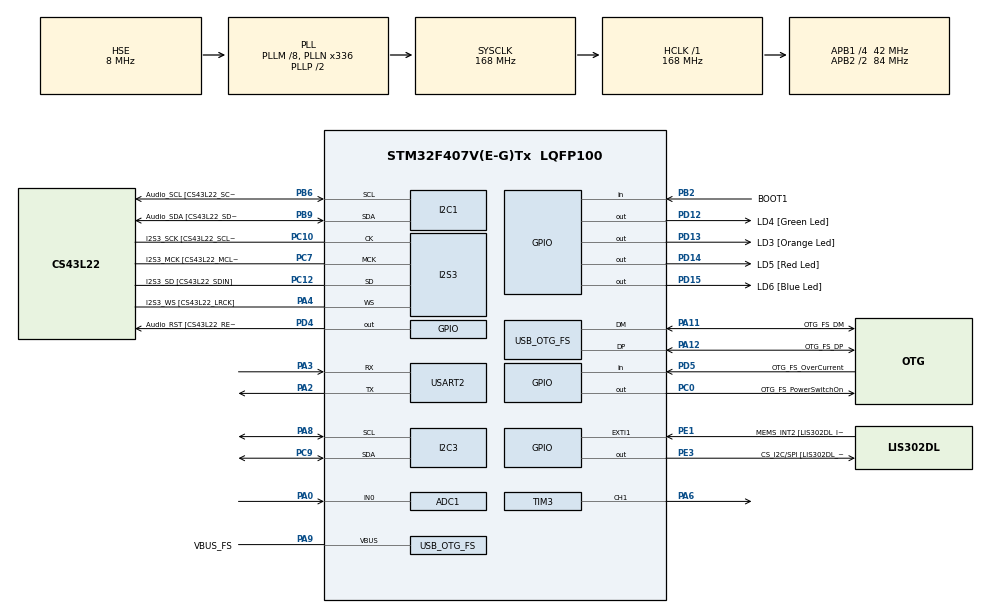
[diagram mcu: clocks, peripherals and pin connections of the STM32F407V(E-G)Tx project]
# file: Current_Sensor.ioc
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ADC1.Channel-1\#ChannelRegularConversion=ADC_CHANNEL_0
ADC1.NbrOfConversion=1
ADC1.NbrOfConversionFlag=1
ADC1.Rank-1\#ChannelRegularConversion=1
ADC1.Resolution=ADC_RESOLUTION_12B
ADC1.SamplingTime-1\#ChannelRegularConversion=ADC_SAMPLETIME_3CYCLES
ADC1.master=1
I2S3.AudioFreq-Half_Duplex_Master=I2S_AUDIOFREQ_96K
I2S3.ErrorAudioFreq=-2.34 %
I2S3.ErrorAudioFreq-Half_Duplex_Master=0.8 %
I2S3.FullDuplexMode=I2S_FULLDUPLEXMODE_DISABLE
I2S3.Instance=SPI$Index
I2S3.RealAudioFreq=93.75 KHz
I2S3.RealAudioFreq-Half_Duplex_Master=96.774 KHz
I2S3.VirtualMode=I2S_MODE_MASTER
Mcu.Family=STM32F4
Mcu.Name=STM32F407V(E-G)Tx
Mcu.Package=LQFP100
NVIC.OTG_FS_IRQn=true\:0\:0\:false\:false\:true\:true\:true\:true
NVIC.PriorityGroup=NVIC_PRIORITYGROUP_0
PA0-WKUP.Signal=ADCx_IN0
PA10.GPIO_Label=OTG_FS_ID
PA10.GPIO_Mode=GPIO_MODE_AF_PP
PA10.GPIO_PuPd=GPIO_NOPULL
PA10.GPIO_Speed=GPIO_SPEED_FREQ_LOW
PA10.Signal=USB_OTG_FS_ID
PA11.GPIO_Label=OTG_FS_DM
PA11.GPIO_Mode=GPIO_MODE_AF_PP
PA11.GPIO_PuPd=GPIO_NOPULL
PA11.GPIO_Speed=GPIO_SPEED_FREQ_LOW
PA11.Mode=Host_Only
PA11.Signal=USB_OTG_FS_DM
PA12.GPIO_Label=OTG_FS_DP
PA12.GPIO_Mode=GPIO_MODE_AF_PP
PA12.GPIO_PuPd=GPIO_NOPULL
PA12.GPIO_Speed=GPIO_SPEED_FREQ_LOW
PA12.Mode=Host_Only
PA12.Signal=USB_OTG_FS_DP
PA13.GPIO_Label=SWDIO
PA13.Mode=Serial_Wire
PA13.Signal=SYS_JTMS-SWDIO
PA14.GPIO_Label=SWCLK
PA14.Mode=Serial_Wire
PA14.Signal=SYS_JTCK-SWCLK
PA2.Mode=Asynchronous
PA2.Signal=USART2_TX
PA3.Mode=Asynchronous
PA3.Signal=USART2_RX
PA4.GPIO_Label=I2S3_WS [CS43L22_LRCK]
PA4.GPIO_Mode=GPIO_MODE_AF_PP
PA4.GPIO_PuPd=GPIO_NOPULL
PA4.GPIO_Speed=GPIO_SPEED_FREQ_LOW
PA4.Mode=Half_Duplex_Master
PA4.Signal=I2S3_WS
PA5.GPIO_Label=SPI1_SCK [LIS302DL_SCL/SPC]
PA5.GPIO_Mode=GPIO_MODE_AF_PP
PA5.GPIO_PuPd=GPIO_NOPULL
PA5.GPIO_Speed=GPIO_SPEED_FREQ_LOW
PA5.Signal=SPI1_SCK
PA6.Signal=S_TIM3_CH1
PA7.GPIO_Label=SPI1_MOSI [LIS302DL_SDA/SDI/SDO]
PA7.GPIO_Mode=GPIO_MODE_AF_PP
PA7.GPIO_PuPd=GPIO_NOPULL
PA7.GPIO_Speed=GPIO_SPEED_FREQ_LOW
PA7.Signal=SPI1_MOSI
PA8.Mode=I2C
PA8.Signal=I2C3_SCL
PA9.GPIO_Label=VBUS_FS
PA9.GPIO_Mode=GPIO_MODE_INPUT
PA9.GPIO_PuPd=GPIO_NOPULL
PA9.Mode=Activate_VBUS
PA9.Signal=USB_OTG_FS_VBUS
PB10.GPIO_Label=CLK_IN [MP45DT02_CLK]
PB10.GPIO_Mode=GPIO_MODE_AF_PP
PB10.GPIO_PuPd=GPIO_NOPULL
PB10.GPIO_Speed=GPIO_SPEED_FREQ_LOW
PB10.Signal=I2S2_CK
PB2.GPIO_Label=BOOT1
PB2.GPIO_Mode=GPIO_MODE_INPUT
PB2.GPIO_PuPd=GPIO_NOPULL
PB2.Signal=GPIO_Input
PB3.GPIO_Label=SWO
PB3.Signal=SYS_JTDO-SWO
PB6.GPIO_Label=Audio_SCL [CS43L22_SCL]
PB6.GPIO_Mode=GPIO_MODE_AF_OD
PB6.GPIO_Pu=GPIO_PULLUP
PB6.GPIO_PuPd=GPIO_NOPULL
PB6.GPIO_Speed=GPIO_SPEED_FREQ_LOW
PB6.Mode=I2C
PB6.Signal=I2C1_SCL
PB9.GPIO_Label=Audio_SDA [CS43L22_SDA]
PB9.GPIO_Mode=GPIO_MODE_AF_OD
PB9.GPIO_Pu=GPIO_PULLUP
PB9.GPIO_PuPd=GPIO_NOPULL
PB9.GPIO_Speed=GPIO_SPEED_FREQ_LOW
PB9.Mode=I2C
PB9.Signal=I2C1_SDA
PC0.GPIO_Label=OTG_FS_PowerSwitchOn
PC0.GPIO_PuPd=GPIO_NOPULL
PC0.GPIO_Speed=GPIO_SPEED_FREQ_LOW
PC0.PinState=GPIO_PIN_SET
PC0.Signal=GPIO_Output
PC10.GPIO_Label=I2S3_SCK [CS43L22_SCLK]
PC10.GPIO_Mode=GPIO_MODE_AF_PP
PC10.GPIO_PuPd=GPIO_NOPULL
PC10.GPIO_Speed=GPIO_SPEED_FREQ_LOW
PC10.Mode=Half_Duplex_Master
PC10.Signal=I2S3_CK
PC12.GPIO_Label=I2S3_SD [CS43L22_SDIN]
PC12.GPIO_Mode=GPIO_MODE_AF_PP
PC12.GPIO_PuPd=GPIO_NOPULL
PC12.GPIO_Speed=GPIO_SPEED_FREQ_LOW
PC12.Mode=Half_Duplex_Master
PC12.Signal=I2S3_SD
PC14-OSC32_IN.GPIO_Label=PC14-OSC32_IN
PC14-OSC32_IN.Mode=LSE-External-Oscillator
PC14-OSC32_IN.Signal=RCC_OSC32_IN
PC15-OSC32_OUT.GPIO_Label=PC15-OSC32_OUT
PC15-OSC32_OUT.Mode=LSE-External-Oscillator
PC15-OSC32_OUT.Signal=RCC_OSC32_OUT
PC3.GPIO_Label=PDM_OUT [MP45DT02_DOUT]
PC3.GPIO_Mode=GPIO_MODE_AF_PP
PC3.GPIO_PuPd=GPIO_NOPULL
PC3.GPIO_Speed=GPIO_SPEED_FREQ_LOW
PC3.Signal=I2S2_SD
PC7.GPIO_Label=I2S3_MCK [CS43L22_MCLK]
PC7.GPIO_Mode=GPIO_MODE_AF_PP
PC7.GPIO_PuPd=GPIO_NOPULL
PC7.GPIO_Speed=GPIO_SPEED_FREQ_LOW
PC7.Mode=Master_Clock_Activated
PC7.Signal=I2S3_MCK
PC9.Mode=I2C
PC9.Signal=I2C3_SDA
PD12.GPIO_Label=LD4 [Green Led]
PD12.GPIO_PuPd=GPIO_NOPULL
PD12.GPIO_Speed=GPIO_SPEED_FREQ_LOW
PD12.Signal=GPIO_Output
PD13.GPIO_Label=LD3 [Orange Led]
PD13.GPIO_PuPd=GPIO_NOPULL
PD13.GPIO_Speed=GPIO_SPEED_FREQ_LOW
PD13.Signal=GPIO_Output
PD14.GPIO_Label=LD5 [Red Led]
PD14.GPIO_PuPd=GPIO_NOPULL
PD14.GPIO_Speed=GPIO_SPEED_FREQ_LOW
PD14.Signal=GPIO_Output
PD15.GPIO_Label=LD6 [Blue Led]
PD15.GPIO_PuPd=GPIO_NOPULL
PD15.GPIO_Speed=GPIO_SPEED_FREQ_LOW
PD15.Signal=GPIO_Output
PD4.GPIO_Label=Audio_RST [CS43L22_RESET]
PD4.GPIO_PuPd=GPIO_NOPULL
PD4.GPIO_Speed=GPIO_SPEED_FREQ_LOW
PD4.Signal=GPIO_Output
PD5.GPIO_Label=OTG_FS_OverCurrent
PD5.GPIO_Mode=GPIO_MODE_INPUT
PD5.GPIO_PuPd=GPIO_NOPULL
PD5.Signal=GPIO_Input
PE1.GPIO_Label=MEMS_INT2 [LIS302DL_INT2]
PE1.GPIO_ModeDefaultEXTI=GPIO_MODE_EVT_RISING
PE1.GPIO_PuPd=GPIO_NOPULL
PE1.Signal=GPXTI1
PE3.GPIO_Label=CS_I2C/SPI [LIS302DL_CS_I2C/SPI]
PE3.GPIO_PuPd=GPIO_NOPULL
PE3.GPIO_Speed=GPIO_SPEED_FREQ_LOW
PE3.Signal=GPIO_Output
PH0-OSC_IN.GPIO_Label=PH0-OSC_IN
PH0-OSC_IN.Mode=HSE-External-Oscillator
PH0-OSC_IN.Signal=RCC_OSC_IN
PH1-OSC_OUT.GPIO_Label=PH1-OSC_OUT
PH1-OSC_OUT.Mode=HSE-External-Oscillator
PH1-OSC_OUT.Signal=RCC_OSC_OUT
ProjectManager.HeapSize=0x200
ProjectManager.StackSize=0x400
ProjectManager.TargetToolchain=STM32CubeIDE
RCC.48MHZClocksFreq_Value=48000000
RCC.AHBFreq_Value=168000000
RCC.APB1CLKDivider=RCC_HCLK_DIV4
RCC.APB1Freq_Value=42000000
RCC.APB1TimFreq_Value=84000000
RCC.APB2CLKDivider=RCC_HCLK_DIV2
RCC.APB2Freq_Value=84000000
RCC.APB2TimFreq_Value=168000000
RCC.CortexFreq_Value=168000000
RCC.HCLKFreq_Value=168000000
RCC.HSE_VALUE=8000000
RCC.HSI_VALUE=16000000
RCC.PLLM=8
RCC.PLLN=336
RCC.PLLQ=7
RCC.SYSCLKFreq_VALUE=168000000
RCC.SYSCLKSource=RCC_SYSCLKSOURCE_PLLCLK
RCC.VCOOutputFreq_Value=336000000
SH.ADCx_IN0.0=ADC1_IN0,IN0
SH.S_TIM3_CH1.0=TIM3_CH1,PWM Generation1 CH1
TIM3.Channel-PWM\ Generation1\ CH1=TIM_CHANNEL_1
TIM3.Period=100
TIM3.Prescaler=83
USART2.VirtualMode=VM_ASYNC
USB_HOST.BSP.number=1
USB_HOST.USBH_HandleTypeDef-CDC_FS=hUsbHostFS
USB_HOST.VirtualModeFS=Cdc
USB_HOST0.BSP.STBoard=false
USB_HOST0.BSP.api=Unknown
USB_HOST0.BSP.instance=PC0
USB_HOST0.BSP.ip=GPIO
USB_HOST0.BSP.mode=Output
USB_HOST0.BSP.name=Drive_VBUS_FS
USB_HOST0.BSP.solution=PC0
USB_OTG_FS.VirtualMode=Host_Only
USB_OTG_FS.phy_itface=HCD_PHY_EMBEDDED
VP_TIM3_VS_ClockSourceINT.Mode=Internal
VP_USB_HOST_VS_USB_HOST_CDC_FS.Mode=CDC_FS
board=STM32F407G-DISC1

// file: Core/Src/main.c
/* USER CODE BEGIN Header */
/**
  ******************************************************************************
  * @file           : main.c
  * @brief          : Main program body for ACS758 Current Sensor
  ******************************************************************************
  */
/* USER CODE END Header */
#include "main.h"
#include "usb_host.h"

/* USER CODE BEGIN Includes */
#include <stdio.h>
#include "lcd_i2c.h"
#include "speed_control.h"

/* USER CODE END Includes */

ADC_HandleTypeDef hadc1;

I2C_HandleTypeDef hi2c1;
I2C_HandleTypeDef hi2c3;

I2S_HandleTypeDef hi2s3;

TIM_HandleTypeDef htim3;

UART_HandleTypeDef huart2;

void SystemClock_Config(void);
static void MX_GPIO_Init(void);
static void MX_I2C1_Init(void);
static void MX_I2S3_Init(void);
static void MX_ADC1_Init(void);
static void MX_USART2_UART_Init(void);
static void MX_I2C3_Init(void);
static void MX_TIM3_Init(void);
void MX_USB_HOST_Process(void);

/* USER CODE BEGIN PFP */
float read_current(void);
/* USER CODE END PFP */

/* USER CODE BEGIN 0 */

/* Redirect printf to SWO (ITM) - No extra hardware needed */
// Redirect printf to USART2 (ST-Link Virtual COM Port)
int _write(int file, char *ptr, int len)
{
    for (int i = 0; i < len; i++)
    {
        ITM_SendChar(*ptr++);
    }
    return len;
}

/* Read current from ACS758LCB-050B (powered at 3.3V) */
float read_current(void)
{
    uint32_t sum = 0;

    for(int i = 0; i < 10; i++)
    {
        HAL_ADC_Start(&hadc1);
        HAL_ADC_PollForConversion(&hadc1, 100);
        sum += HAL_ADC_GetValue(&hadc1);
        HAL_ADC_Stop(&hadc1);
    }

    float adc_value = sum / 10.0f;

    float vout = (adc_value * 3.3f) / 4095.0f;
    float zero_current = 1.65f;
    float sensitivity  = 0.0264f;

    float current_A = (vout - zero_current) / sensitivity;

    return current_A;
}

/* USER CODE END 0 */

int main(void)
{

  /* MCU Configuration--------------------------------------------------------*/

  /* Reset of all peripherals, Initializes the Flash interface and the Systick. */
  HAL_Init();

  /* Configure the system clock */
  SystemClock_Config();

  /* Initialize all configured peripherals */
  MX_GPIO_Init();
  MX_I2C1_Init();
  MX_I2S3_Init();
  MX_USB_HOST_Init();
  MX_ADC1_Init();
  MX_USART2_UART_Init();
  MX_I2C3_Init();
  MX_TIM3_Init();
  /* USER CODE BEGIN 2 */
  SpeedControl_Init();
  //PowerControl_Init();
  lcd_init();
  HAL_TIM_PWM_Start(&htim3, TIM_CHANNEL_1);

  // Enable ITM (required for SWV)
//  CoreDebug->DEMCR |= CoreDebug_DEMCR_TRCENA_Msk;
//  ITM->LAR = 0xC5ACCE55;
//  ITM->TCR = ITM_TCR_ITMENA_Msk;
//  ITM->TER = 1;

  printf("\r\n=== ACS758LCB-050B Current Sensor Test ===\r\n");
  printf("STM32F407VG Discovery Board\r\n");
  printf("Sensor powered at 3.3V | Sensitivity = 26.4 mV/A\r\n");
  printf("Reading every 500 ms...\r\n\r\n");
  /* USER CODE END 2 */

  /* Infinite loop */
  /* USER CODE BEGIN WHILE */
  while (1)
  {
      /* Handle buttons + update onboard LEDs (PD12-15) */
      SpeedControl_Process();

      /* ✅ Send actual speedLevel as PWM duty to PA6 (external peripheral) */
      __HAL_TIM_SET_COMPARE(&htim3, TIM_CHANNEL_1, (uint32_t)speedLevel);

      /* Read current */
      char buf[16];
      float current_A = read_current();

      printf("Current: %.2f A | Speed: %d%%\r\n", current_A, speedLevel);

      /* LCD Display */
      lcd_clear();

      lcd_set_cursor(0, 0);
      lcd_send_string("Cur:");
      lcd_set_cursor(0, 4);
      sprintf(buf, "%.2fA", current_A);
      lcd_send_string(buf);

      lcd_set_cursor(1, 0);
      lcd_send_string("Spd:");
      lcd_set_cursor(1, 4);
      sprintf(buf, "%d%%  ", speedLevel);
      lcd_send_string(buf);

      HAL_Delay(500);

      MX_USB_HOST_Process();
  }
  /* USER CODE END 3 */
}

void SystemClock_Config(void)
{
  RCC_OscInitTypeDef RCC_OscInitStruct = {0};
  RCC_ClkInitTypeDef RCC_ClkInitStruct = {0};

  /** Configure the main internal regulator output voltage
  */
  __HAL_RCC_PWR_CLK_ENABLE();
  __HAL_PWR_VOLTAGESCALING_CONFIG(PWR_REGULATOR_VOLTAGE_SCALE1);

  /** Initializes the RCC Oscillators according to the specified parameters
  * in the RCC_OscInitTypeDef structure.
  */
  RCC_OscInitStruct.OscillatorType = RCC_OSCILLATORTYPE_HSE;
  RCC_OscInitStruct.HSEState = RCC_HSE_ON;
  RCC_OscInitStruct.PLL.PLLState = RCC_PLL_ON;
  RCC_OscInitStruct.PLL.PLLSource = RCC_PLLSOURCE_HSE;
  RCC_OscInitStruct.PLL.PLLM = 8;
  RCC_OscInitStruct.PLL.PLLN = 336;
  RCC_OscInitStruct.PLL.PLLP = RCC_PLLP_DIV2;
  RCC_OscInitStruct.PLL.PLLQ = 7;
  if (HAL_RCC_OscConfig(&RCC_OscInitStruct) != HAL_OK)
  {
    Error_Handler();
  }

  /** Initializes the CPU, AHB and APB buses clocks
  */
  RCC_ClkInitStruct.ClockType = RCC_CLOCKTYPE_HCLK|RCC_CLOCKTYPE_SYSCLK
                              |RCC_CLOCKTYPE_PCLK1|RCC_CLOCKTYPE_PCLK2;
  RCC_ClkInitStruct.SYSCLKSource = RCC_SYSCLKSOURCE_PLLCLK;
  RCC_ClkInitStruct.AHBCLKDivider = RCC_SYSCLK_DIV1;
  RCC_ClkInitStruct.APB1CLKDivider = RCC_HCLK_DIV4;
  RCC_ClkInitStruct.APB2CLKDivider = RCC_HCLK_DIV2;

  if (HAL_RCC_ClockConfig(&RCC_ClkInitStruct, FLASH_LATENCY_5) != HAL_OK)
  {
    Error_Handler();
  }
}

static void MX_ADC1_Init(void)
{

  ADC_ChannelConfTypeDef sConfig = {0};

  /** Configure the global features of the ADC (Clock, Resolution, Data Alignment and number of conversion)
  */
  hadc1.Instance = ADC1;
  hadc1.Init.ClockPrescaler = ADC_CLOCK_SYNC_PCLK_DIV4;
  hadc1.Init.Resolution = ADC_RESOLUTION_12B;
  hadc1.Init.ScanConvMode = DISABLE;
  hadc1.Init.ContinuousConvMode = DISABLE;
  hadc1.Init.DiscontinuousConvMode = DISABLE;
  hadc1.Init.ExternalTrigConvEdge = ADC_EXTERNALTRIGCONVEDGE_NONE;
  hadc1.Init.ExternalTrigConv = ADC_SOFTWARE_START;
  hadc1.Init.DataAlign = ADC_DATAALIGN_RIGHT;
  hadc1.Init.NbrOfConversion = 1;
  hadc1.Init.DMAContinuousRequests = DISABLE;
  hadc1.Init.EOCSelection = ADC_EOC_SINGLE_CONV;
  if (HAL_ADC_Init(&hadc1) != HAL_OK)
  {
    Error_Handler();
  }

  /** Configure for the selected ADC regular channel its corresponding rank in the sequencer and its sample time.
  */
  sConfig.Channel = ADC_CHANNEL_0;
  sConfig.Rank = 1;
  sConfig.SamplingTime = ADC_SAMPLETIME_3CYCLES;
  if (HAL_ADC_ConfigChannel(&hadc1, &sConfig) != HAL_OK)
  {
    Error_Handler();
  }

}

static void MX_I2C1_Init(void)
{

  hi2c1.Instance = I2C1;
  hi2c1.Init.ClockSpeed = 100000;
  hi2c1.Init.DutyCycle = I2C_DUTYCYCLE_2;
  hi2c1.Init.OwnAddress1 = 0;
  hi2c1.Init.AddressingMode = I2C_ADDRESSINGMODE_7BIT;
  hi2c1.Init.DualAddressMode = I2C_DUALADDRESS_DISABLE;
  hi2c1.Init.OwnAddress2 = 0;
  hi2c1.Init.GeneralCallMode = I2C_GENERALCALL_DISABLE;
  hi2c1.Init.NoStretchMode = I2C_NOSTRETCH_DISABLE;
  if (HAL_I2C_Init(&hi2c1) != HAL_OK)
  {
    Error_Handler();
  }

}

static void MX_I2C3_Init(void)
{

  hi2c3.Instance = I2C3;
  hi2c3.Init.ClockSpeed = 100000;
  hi2c3.Init.DutyCycle = I2C_DUTYCYCLE_2;
  hi2c3.Init.OwnAddress1 = 0;
  hi2c3.Init.AddressingMode = I2C_ADDRESSINGMODE_7BIT;
  hi2c3.Init.DualAddressMode = I2C_DUALADDRESS_DISABLE;
  hi2c3.Init.OwnAddress2 = 0;
  hi2c3.Init.GeneralCallMode = I2C_GENERALCALL_DISABLE;
  hi2c3.Init.NoStretchMode = I2C_NOSTRETCH_DISABLE;
  if (HAL_I2C_Init(&hi2c3) != HAL_OK)
  {
    Error_Handler();
  }

}

static void MX_I2S3_Init(void)
{

  hi2s3.Instance = SPI3;
  hi2s3.Init.Mode = I2S_MODE_MASTER_TX;
  hi2s3.Init.Standard = I2S_STANDARD_PHILIPS;
  hi2s3.Init.DataFormat = I2S_DATAFORMAT_16B;
  hi2s3.Init.MCLKOutput = I2S_MCLKOUTPUT_ENABLE;
  hi2s3.Init.AudioFreq = I2S_AUDIOFREQ_96K;
  hi2s3.Init.CPOL = I2S_CPOL_LOW;
  hi2s3.Init.ClockSource = I2S_CLOCK_PLL;
  hi2s3.Init.FullDuplexMode = I2S_FULLDUPLEXMODE_DISABLE;
  if (HAL_I2S_Init(&hi2s3) != HAL_OK)
  {
    Error_Handler();
  }

}

static void MX_TIM3_Init(void)
{

  TIM_ClockConfigTypeDef sClockSourceConfig = {0};
  TIM_MasterConfigTypeDef sMasterConfig = {0};
  TIM_OC_InitTypeDef sConfigOC = {0};

  htim3.Instance = TIM3;
  htim3.Init.Prescaler = 83;
  htim3.Init.CounterMode = TIM_COUNTERMODE_UP;
  htim3.Init.Period = 100;
  htim3.Init.ClockDivision = TIM_CLOCKDIVISION_DIV1;
  htim3.Init.AutoReloadPreload = TIM_AUTORELOAD_PRELOAD_DISABLE;
  if (HAL_TIM_Base_Init(&htim3) != HAL_OK)
  {
    Error_Handler();
  }
  sClockSourceConfig.ClockSource = TIM_CLOCKSOURCE_INTERNAL;
  if (HAL_TIM_ConfigClockSource(&htim3, &sClockSourceConfig) != HAL_OK)
  {
    Error_Handler();
  }
  if (HAL_TIM_PWM_Init(&htim3) != HAL_OK)
  {
    Error_Handler();
  }
  sMasterConfig.MasterOutputTrigger = TIM_TRGO_RESET;
  sMasterConfig.MasterSlaveMode = TIM_MASTERSLAVEMODE_DISABLE;
  if (HAL_TIMEx_MasterConfigSynchronization(&htim3, &sMasterConfig) != HAL_OK)
  {
    Error_Handler();
  }
  sConfigOC.OCMode = TIM_OCMODE_PWM1;
  sConfigOC.Pulse = 0;
  sConfigOC.OCPolarity = TIM_OCPOLARITY_HIGH;
  sConfigOC.OCFastMode = TIM_OCFAST_DISABLE;
  if (HAL_TIM_PWM_ConfigChannel(&htim3, &sConfigOC, TIM_CHANNEL_1) != HAL_OK)
  {
    Error_Handler();
  }
  HAL_TIM_MspPostInit(&htim3);

}

static void MX_USART2_UART_Init(void)
{

  huart2.Instance = USART2;
  huart2.Init.BaudRate = 115200;
  huart2.Init.WordLength = UART_WORDLENGTH_8B;
  huart2.Init.StopBits = UART_STOPBITS_1;
  huart2.Init.Parity = UART_PARITY_NONE;
  huart2.Init.Mode = UART_MODE_TX_RX;
  huart2.Init.HwFlowCtl = UART_HWCONTROL_NONE;
  huart2.Init.OverSampling = UART_OVERSAMPLING_16;
  if (HAL_UART_Init(&huart2) != HAL_OK)
  {
    Error_Handler();
  }

}

static void MX_GPIO_Init(void)
{
  GPIO_InitTypeDef GPIO_InitStruct = {0};

  /* GPIO Ports Clock Enable */
  __HAL_RCC_GPIOE_CLK_ENABLE();
  __HAL_RCC_GPIOC_CLK_ENABLE();
  __HAL_RCC_GPIOH_CLK_ENABLE();
  __HAL_RCC_GPIOA_CLK_ENABLE();
  __HAL_RCC_GPIOB_CLK_ENABLE();
  __HAL_RCC_GPIOD_CLK_ENABLE();

  /*Configure GPIO pin Output Level */
  HAL_GPIO_WritePin(CS_I2C_SPI_GPIO_Port, CS_I2C_SPI_Pin, GPIO_PIN_RESET);

  /*Configure GPIO pin Output Level */
  HAL_GPIO_WritePin(OTG_FS_PowerSwitchOn_GPIO_Port, OTG_FS_PowerSwitchOn_Pin, GPIO_PIN_SET);

  /*Configure GPIO pin Output Level */
  HAL_GPIO_WritePin(GPIOD, LD4_Pin|LD3_Pin|LD5_Pin|LD6_Pin
                          |Audio_RST_Pin, GPIO_PIN_RESET);

  /*Configure GPIO pin : CS_I2C_SPI_Pin */
  GPIO_InitStruct.Pin = CS_I2C_SPI_Pin;
  GPIO_InitStruct.Mode = GPIO_MODE_OUTPUT_PP;
  GPIO_InitStruct.Pull = GPIO_NOPULL;
  GPIO_InitStruct.Speed = GPIO_SPEED_FREQ_LOW;
  HAL_GPIO_Init(CS_I2C_SPI_GPIO_Port, &GPIO_InitStruct);

  /*Configure GPIO pin : OTG_FS_PowerSwitchOn_Pin */
  GPIO_InitStruct.Pin = OTG_FS_PowerSwitchOn_Pin;
  GPIO_InitStruct.Mode = GPIO_MODE_OUTPUT_PP;
  GPIO_InitStruct.Pull = GPIO_NOPULL;
  GPIO_InitStruct.Speed = GPIO_SPEED_FREQ_LOW;
  HAL_GPIO_Init(OTG_FS_PowerSwitchOn_GPIO_Port, &GPIO_InitStruct);

  /*Configure GPIO pin : PDM_OUT_Pin */
  GPIO_InitStruct.Pin = PDM_OUT_Pin;
  GPIO_InitStruct.Mode = GPIO_MODE_AF_PP;
  GPIO_InitStruct.Pull = GPIO_NOPULL;
  GPIO_InitStruct.Speed = GPIO_SPEED_FREQ_LOW;
  GPIO_InitStruct.Alternate = GPIO_AF5_SPI2;
  HAL_GPIO_Init(PDM_OUT_GPIO_Port, &GPIO_InitStruct);

  /*Configure GPIO pins : SPI1_SCK_Pin SPI1_MOSI_Pin */
  GPIO_InitStruct.Pin = SPI1_SCK_Pin|SPI1_MOSI_Pin;
  GPIO_InitStruct.Mode = GPIO_MODE_AF_PP;
  GPIO_InitStruct.Pull = GPIO_NOPULL;
  GPIO_InitStruct.Speed = GPIO_SPEED_FREQ_LOW;
  GPIO_InitStruct.Alternate = GPIO_AF5_SPI1;
  HAL_GPIO_Init(GPIOA, &GPIO_InitStruct);

  /*Configure GPIO pin : BOOT1_Pin */
  GPIO_InitStruct.Pin = BOOT1_Pin;
  GPIO_InitStruct.Mode = GPIO_MODE_INPUT;
  GPIO_InitStruct.Pull = GPIO_NOPULL;
  HAL_GPIO_Init(BOOT1_GPIO_Port, &GPIO_InitStruct);

  /*Configure GPIO pin : CLK_IN_Pin */
  GPIO_InitStruct.Pin = CLK_IN_Pin;
  GPIO_InitStruct.Mode = GPIO_MODE_AF_PP;
  GPIO_InitStruct.Pull = GPIO_NOPULL;
  GPIO_InitStruct.Speed = GPIO_SPEED_FREQ_LOW;
  GPIO_InitStruct.Alternate = GPIO_AF5_SPI2;
  HAL_GPIO_Init(CLK_IN_GPIO_Port, &GPIO_InitStruct);

  /*Configure GPIO pins : LD4_Pin LD3_Pin LD5_Pin LD6_Pin
                           Audio_RST_Pin */
  GPIO_InitStruct.Pin = LD4_Pin|LD3_Pin|LD5_Pin|LD6_Pin
                          |Audio_RST_Pin;
  GPIO_InitStruct.Mode = GPIO_MODE_OUTPUT_PP;
  GPIO_InitStruct.Pull = GPIO_NOPULL;
  GPIO_InitStruct.Speed = GPIO_SPEED_FREQ_LOW;
  HAL_GPIO_Init(GPIOD, &GPIO_InitStruct);

  /*Configure GPIO pin : OTG_FS_OverCurrent_Pin */
  GPIO_InitStruct.Pin = OTG_FS_OverCurrent_Pin;
  GPIO_InitStruct.Mode = GPIO_MODE_INPUT;
  GPIO_InitStruct.Pull = GPIO_NOPULL;
  HAL_GPIO_Init(OTG_FS_OverCurrent_GPIO_Port, &GPIO_InitStruct);

  /*Configure GPIO pin : MEMS_INT2_Pin */
  GPIO_InitStruct.Pin = MEMS_INT2_Pin;
  GPIO_InitStruct.Mode = GPIO_MODE_EVT_RISING;
  GPIO_InitStruct.Pull = GPIO_NOPULL;
  HAL_GPIO_Init(MEMS_INT2_GPIO_Port, &GPIO_InitStruct);

  /* USER CODE BEGIN MX_GPIO_Init_2 */
  /* Configure INC and DEC buttons */
  GPIO_InitStruct.Pin   = INC_BTN_PIN | DEC_BTN_PIN;
  GPIO_InitStruct.Mode  = GPIO_MODE_INPUT;
  GPIO_InitStruct.Pull  = GPIO_PULLUP;
  GPIO_InitStruct.Speed = GPIO_SPEED_FREQ_LOW;
  HAL_GPIO_Init(GPIOE, &GPIO_InitStruct);

  /* PA6 → TIM3_CH1 */
  GPIO_InitStruct.Pin = GPIO_PIN_6;
  GPIO_InitStruct.Mode = GPIO_MODE_AF_PP;
  GPIO_InitStruct.Pull = GPIO_NOPULL;
  GPIO_InitStruct.Speed = GPIO_SPEED_FREQ_LOW;
  GPIO_InitStruct.Alternate = GPIO_AF2_TIM3;
  HAL_GPIO_Init(GPIOA, &GPIO_InitStruct);

  /* USER CODE END MX_GPIO_Init_2 */
}

void Error_Handler(void)
{
  /* USER CODE BEGIN Error_Handler_Debug */
//  /* User can add his own implementation to report the HAL error return state */
//  __disable_irq();
//  while (1)
//  {
//  }
  /* USER CODE END Error_Handler_Debug */
}
